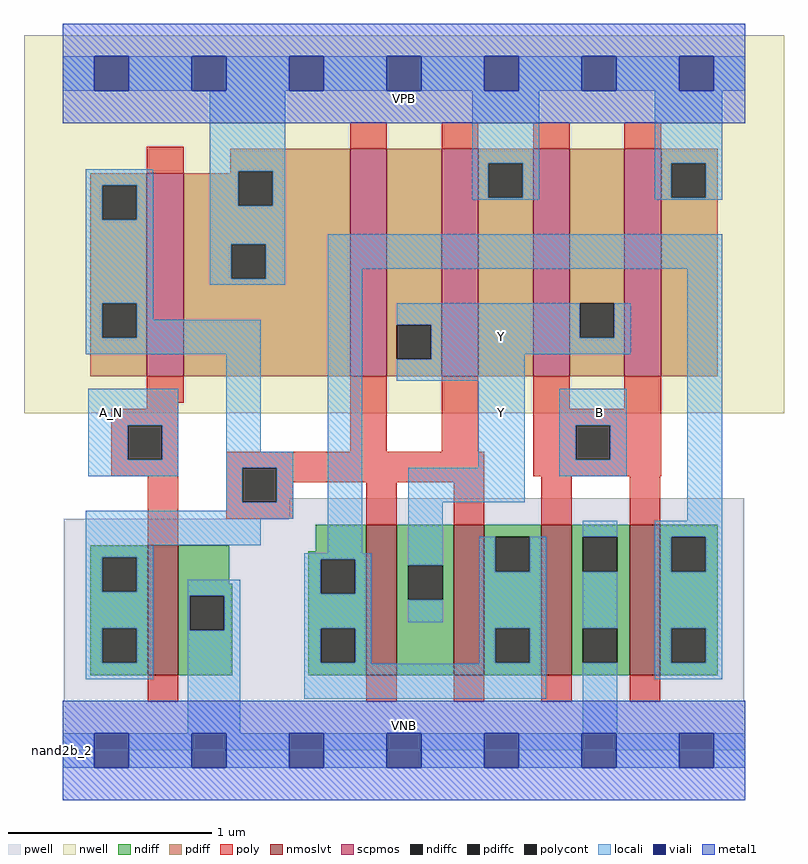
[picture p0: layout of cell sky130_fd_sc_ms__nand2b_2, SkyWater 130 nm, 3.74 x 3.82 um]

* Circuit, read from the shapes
.subckt sky130_fd_sc_ms__nand2b_2 A_N B VGND VNB VPB VPWR Y
XM1 VGND A_N n1 VNB sky130_fd_pr__nfet_01v8_lvt w=0.64 l=0.15
XM2 Y n1 n2 VNB sky130_fd_pr__nfet_01v8_lvt w=0.74 l=0.15 m=2
XM3 VGND B n2 VNB sky130_fd_pr__nfet_01v8_lvt w=0.74 l=0.15 m=2
XM4 VPWR A_N n1 VPB sky130_fd_pr__pfet_01v8 w=1 l=0.18
XM5 Y n1 VPWR VPB sky130_fd_pr__pfet_01v8 w=1.12 l=0.18 m=2
XM6 Y B VPWR VPB sky130_fd_pr__pfet_01v8 w=1.12 l=0.18 m=2
.ends

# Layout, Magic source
magic
tech sky130A
magscale 1 2
<< nwell >>
rect -38 332 710 704
<< pwell >>
rect 223 228 671 248
rect 1 49 671 228
rect 0 0 672 49
<< scpmos >>
rect 83 368 119 568
rect 283 368 319 592
rect 373 368 409 592
rect 463 368 499 592
rect 553 368 589 592
<< nmoslvt >>
rect 84 74 114 202
rect 299 74 329 222
rect 385 74 415 222
rect 471 74 501 222
rect 558 74 588 222
<< ndiff >>
rect 27 190 84 202
rect 27 156 39 190
rect 73 156 84 190
rect 27 120 84 156
rect 27 86 39 120
rect 73 86 84 120
rect 27 74 84 86
rect 114 164 164 202
rect 249 196 299 222
rect 242 188 299 196
rect 114 152 167 164
rect 114 118 125 152
rect 159 118 167 152
rect 114 74 167 118
rect 242 154 254 188
rect 288 154 299 188
rect 242 120 299 154
rect 242 86 254 120
rect 288 86 299 120
rect 242 74 299 86
rect 329 182 385 222
rect 329 148 340 182
rect 374 148 385 182
rect 329 74 385 148
rect 415 210 471 222
rect 415 176 426 210
rect 460 176 471 210
rect 415 120 471 176
rect 415 86 426 120
rect 460 86 471 120
rect 415 74 471 86
rect 501 210 558 222
rect 501 176 512 210
rect 546 176 558 210
rect 501 120 558 176
rect 501 86 512 120
rect 546 86 558 120
rect 501 74 558 86
rect 588 210 645 222
rect 588 176 599 210
rect 633 176 645 210
rect 588 120 645 176
rect 588 86 599 120
rect 633 86 645 120
rect 588 74 645 86
<< pdiff >>
rect 165 570 283 592
rect 165 568 173 570
rect 27 556 83 568
rect 27 522 39 556
rect 73 522 83 556
rect 27 440 83 522
rect 27 406 39 440
rect 73 406 83 440
rect 27 368 83 406
rect 119 536 173 568
rect 207 536 283 570
rect 119 498 283 536
rect 119 464 166 498
rect 200 464 283 498
rect 119 368 283 464
rect 319 419 373 592
rect 319 385 329 419
rect 363 385 373 419
rect 319 368 373 385
rect 409 578 463 592
rect 409 544 419 578
rect 453 544 463 578
rect 409 368 463 544
rect 499 440 553 592
rect 499 406 509 440
rect 543 406 553 440
rect 499 368 553 406
rect 589 578 645 592
rect 589 544 599 578
rect 633 544 645 578
rect 589 368 645 544
<< ndiffc >>
rect 39 156 73 190
rect 39 86 73 120
rect 125 118 159 152
rect 254 154 288 188
rect 254 86 288 120
rect 340 148 374 182
rect 426 176 460 210
rect 426 86 460 120
rect 512 176 546 210
rect 512 86 546 120
rect 599 176 633 210
rect 599 86 633 120
<< pdiffc >>
rect 39 522 73 556
rect 39 406 73 440
rect 173 536 207 570
rect 166 464 200 498
rect 329 385 363 419
rect 419 544 453 578
rect 509 406 543 440
rect 599 544 633 578
<< poly >>
rect 83 568 119 594
rect 283 592 319 618
rect 373 592 409 618
rect 463 592 499 618
rect 553 592 589 618
rect 83 342 119 368
rect 83 336 114 342
rect 48 320 114 336
rect 48 286 64 320
rect 98 286 114 320
rect 283 294 319 368
rect 373 294 409 368
rect 463 336 499 368
rect 553 336 589 368
rect 463 320 589 336
rect 48 270 114 286
rect 84 202 114 270
rect 161 278 415 294
rect 161 244 177 278
rect 211 264 415 278
rect 463 286 505 320
rect 539 286 589 320
rect 463 270 589 286
rect 211 244 227 264
rect 161 228 227 244
rect 299 222 329 264
rect 385 222 415 264
rect 471 222 501 270
rect 558 222 588 270
rect 84 48 114 74
rect 299 48 329 74
rect 385 48 415 74
rect 471 48 501 74
rect 558 48 588 74
<< polycont >>
rect 64 286 98 320
rect 177 244 211 278
rect 505 286 539 320
<< locali >>
rect 0 649 31 683
rect 65 649 127 683
rect 161 649 223 683
rect 257 649 319 683
rect 353 649 415 683
rect 449 649 511 683
rect 545 649 607 683
rect 641 649 672 683
rect 23 556 89 572
rect 23 522 39 556
rect 73 522 89 556
rect 23 440 89 522
rect 145 570 219 649
rect 145 536 173 570
rect 207 536 219 570
rect 403 578 469 649
rect 403 544 419 578
rect 453 544 469 578
rect 403 542 469 544
rect 583 578 649 649
rect 583 544 599 578
rect 633 544 649 578
rect 583 542 649 544
rect 145 498 219 536
rect 145 464 166 498
rect 200 464 219 498
rect 145 458 219 464
rect 261 474 649 508
rect 23 406 39 440
rect 73 424 89 440
rect 73 406 195 424
rect 23 390 195 406
rect 25 320 114 356
rect 25 286 64 320
rect 98 286 114 320
rect 25 270 114 286
rect 161 294 195 390
rect 161 278 227 294
rect 161 244 177 278
rect 211 244 227 278
rect 161 236 227 244
rect 23 228 227 236
rect 23 202 195 228
rect 23 190 89 202
rect 261 194 295 474
rect 329 419 509 440
rect 363 406 509 419
rect 543 406 559 440
rect 363 390 559 406
rect 363 385 455 390
rect 329 364 455 385
rect 409 278 455 364
rect 340 244 455 278
rect 489 320 555 356
rect 489 286 505 320
rect 539 286 555 320
rect 489 270 555 286
rect 23 156 39 190
rect 73 156 89 190
rect 238 188 304 194
rect 23 120 89 156
rect 23 86 39 120
rect 73 86 89 120
rect 23 70 89 86
rect 123 152 175 168
rect 123 118 125 152
rect 159 118 175 152
rect 123 17 175 118
rect 238 154 254 188
rect 288 154 304 188
rect 238 120 304 154
rect 340 182 374 244
rect 615 226 649 474
rect 512 210 546 226
rect 340 126 374 148
rect 410 176 426 210
rect 460 176 476 210
rect 238 86 254 120
rect 288 86 304 120
rect 238 85 304 86
rect 410 120 476 176
rect 410 86 426 120
rect 460 86 476 120
rect 410 85 476 86
rect 238 51 476 85
rect 512 120 546 176
rect 512 17 546 86
rect 583 210 649 226
rect 583 176 599 210
rect 633 176 649 210
rect 583 120 649 176
rect 583 86 599 120
rect 633 86 649 120
rect 583 70 649 86
rect 0 -17 31 17
rect 65 -17 127 17
rect 161 -17 223 17
rect 257 -17 319 17
rect 353 -17 415 17
rect 449 -17 511 17
rect 545 -17 607 17
rect 641 -17 672 17
<< viali >>
rect 31 649 65 683
rect 127 649 161 683
rect 223 649 257 683
rect 319 649 353 683
rect 415 649 449 683
rect 511 649 545 683
rect 607 649 641 683
rect 31 -17 65 17
rect 127 -17 161 17
rect 223 -17 257 17
rect 319 -17 353 17
rect 415 -17 449 17
rect 511 -17 545 17
rect 607 -17 641 17
<< metal1 >>
rect 0 683 672 715
rect 0 649 31 683
rect 65 649 127 683
rect 161 649 223 683
rect 257 649 319 683
rect 353 649 415 683
rect 449 649 511 683
rect 545 649 607 683
rect 641 649 672 683
rect 0 617 672 649
rect 0 17 672 49
rect 0 -17 31 17
rect 65 -17 127 17
rect 161 -17 223 17
rect 257 -17 319 17
rect 353 -17 415 17
rect 449 -17 511 17
rect 545 -17 607 17
rect 641 -17 672 17
rect 0 -49 672 -17
<< labels >>
flabel pwell s 0 0 672 49 0 FreeSans 200 0 0 0 VNB
port 4 nsew ground bidirectional
flabel nwell s 0 617 672 666 0 FreeSans 200 0 0 0 VPB
port 5 nsew power bidirectional
rlabel comment s 0 0 0 0 4 nand2b_2
flabel metal1 s 0 617 672 666 0 FreeSans 340 0 0 0 VPWR
port 6 nsew power bidirectional
flabel metal1 s 0 0 672 49 0 FreeSans 340 0 0 0 VGND
port 3 nsew ground bidirectional
flabel locali s 511 316 545 350 0 FreeSans 340 0 0 0 B
port 2 nsew signal input
flabel locali s 415 316 449 350 0 FreeSans 340 0 0 0 Y
port 7 nsew signal output
flabel locali s 415 390 449 424 0 FreeSans 340 0 0 0 Y
port 7 nsew signal output
flabel locali s 31 316 65 350 0 FreeSans 340 0 0 0 A_N
port 1 nsew signal input
<< properties >>
string LEFsite unit
string LEFclass CORE
string FIXED_BBOX 0 0 672 666
string GDS_FILE $PDKPATH/libs.ref/sky130_fd_sc_ms/gds/sky130_fd_sc_ms.gds
string LEFsymmetry X Y
string GDS_END 2334874
string GDS_START 2329170
<< end >>
